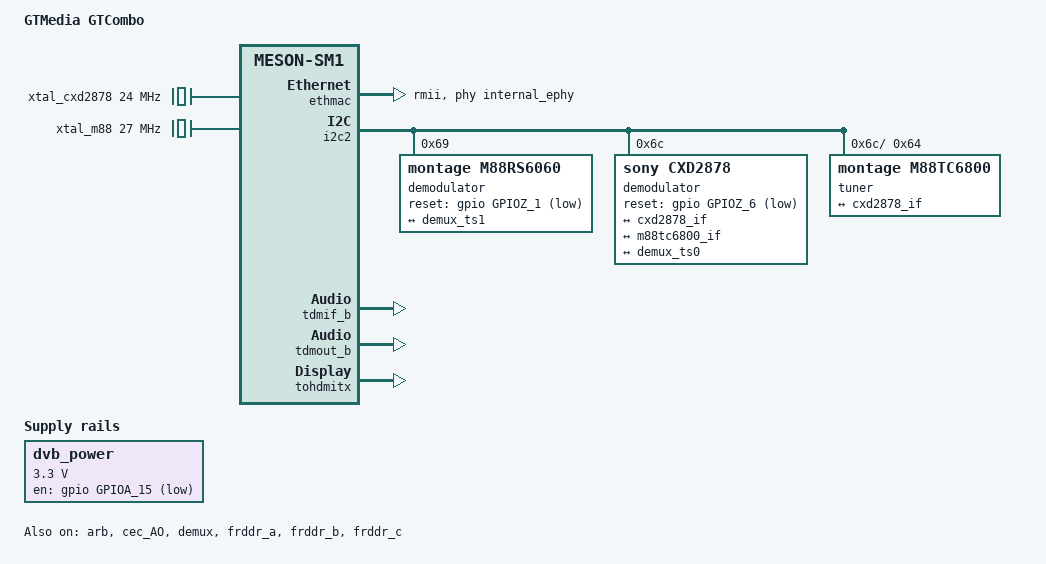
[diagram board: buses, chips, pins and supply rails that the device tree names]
// SPDX-License-Identifier: (GPL-2.0+ OR MIT)
/*
 * Copyright (c) 2026 Marek Czerski <m.czerski@ap-tech.pl>
 */

/dts-v1/;

#include "meson-sm1-ac2xx.dtsi"
#include <dt-bindings/sound/meson-g12a-tohdmitx.h>

/ {
	compatible = "gtmedia,gtcombo", "amlogic,sm1";
	model = "GTMedia GTCombo";

	/* CXD2878 crystal (vendor fe0_demod_xtal = <1>: 24 MHz) */
	xtal_cxd2878: clock-24000000 {
		compatible = "fixed-clock";
		#clock-cells = <0>;
		clock-frequency = <24000000>;
	};

	/* M88TC6800 and M88RS6060 crystals, one node for both */
	xtal_m88: clock-27000000 {
		compatible = "fixed-clock";
		#clock-cells = <0>;
		clock-frequency = <27000000>;
	};

	/* GPIOA_15 low powers the DVB frontends (vendor dvb_power_value = 0) */
	dvb_power: regulator-dvb-power {
		compatible = "regulator-fixed";
		regulator-name = "DVB_POWER";
		regulator-min-microvolt = <3300000>;
		regulator-max-microvolt = <3300000>;
		gpio = <&gpio GPIOA_15 GPIO_ACTIVE_LOW>;
		regulator-always-on;
	};

	sound {
		compatible = "amlogic,axg-sound-card";
		model = "GTCOMBO";
		audio-aux-devs = <&tdmout_b>;
		audio-routing = "TDMOUT_B IN 0", "FRDDR_A OUT 1",
				"TDMOUT_B IN 1", "FRDDR_B OUT 1",
				"TDMOUT_B IN 2", "FRDDR_C OUT 1",
				"TDM_B Playback", "TDMOUT_B OUT";

		clocks = <&clkc CLKID_MPLL2>,
			 <&clkc CLKID_MPLL0>,
			 <&clkc CLKID_MPLL1>;

		assigned-clocks = <&clkc CLKID_MPLL2>,
				  <&clkc CLKID_MPLL0>,
				  <&clkc CLKID_MPLL1>;
		assigned-clock-rates = <294912000>,
				       <270950400>,
				       <393216000>;

		dai-link-0 {
			sound-dai = <&frddr_a>;
		};

		dai-link-1 {
			sound-dai = <&frddr_b>;
		};

		dai-link-2 {
			sound-dai = <&frddr_c>;
		};

		/* 8ch hdmi interface */
		dai-link-3 {
			sound-dai = <&tdmif_b>;
			dai-format = "i2s";
			dai-tdm-slot-tx-mask-0 = <1 1>;
			dai-tdm-slot-tx-mask-1 = <1 1>;
			dai-tdm-slot-tx-mask-2 = <1 1>;
			dai-tdm-slot-tx-mask-3 = <1 1>;
			mclk-fs = <256>;

			codec {
				sound-dai = <&tohdmitx TOHDMITX_I2S_IN_B>;
			};
		};

		/* hdmi glue */
		dai-link-4 {
			sound-dai = <&tohdmitx TOHDMITX_I2S_OUT>;

			codec {
				sound-dai = <&hdmi_tx>;
			};
		};
	};
};

&arb {
	status = "okay";
};

/* CEC works on this board through AO-CEC-A, not AO-CEC-B (same pin, GPIOH_3) */
&cec_AO {
	status = "okay";
};

&cecb_AO {
	status = "disabled";
};

&clkc_audio {
	status = "okay";
};

&demux {
	pinctrl-0 = <&tsin_ao_a_pins>, <&tsin_b_z_parallel_pins>;
	pinctrl-names = "default";
	status = "okay";

	ports {
		#address-cells = <1>;
		#size-cells = <0>;

		/* TS0: tsin_ao_a, serial */
		port@0 {
			reg = <0>;

			demux_ts0: endpoint {
				remote-endpoint = <&cxd2878_ts>;
				bus-width = <1>;
				/* the vendor's ts0_control = 0x800, FEC_CLK */
				pclk-sample = <0>;
			};
		};

		/* TS1: tsin_b on GPIOZ, parallel */
		port@1 {
			reg = <1>;

			demux_ts1: endpoint {
				remote-endpoint = <&m88rs6060_ts>;
				bus-width = <8>;
			};
		};
	};
};

&ethmac {
	status = "okay";
	phy-handle = <&internal_ephy>;
	phy-mode = "rmii";
};

&frddr_a {
	status = "okay";
};

&frddr_b {
	status = "okay";
};

&frddr_c {
	status = "okay";
};

/*
 * DVB frontends: fe0 is the CXD2878 with the M88TC6800 (M88TC6K) tuner
 * behind its I2C gate, fe1 the M88DM6K, driven by the m88rs6060 driver.
 */
&i2c2 {
	status = "okay";
	pinctrl-0 = <&i2c2_sda_z_pins>, <&i2c2_sck_z_pins>;
	pinctrl-names = "default";

	demodulator@69 {
		compatible = "montage,m88rs6060";
		reg = <0x69>;
		clocks = <&xtal_m88>;
		reset-gpios = <&gpio GPIOZ_1 GPIO_ACTIVE_LOW>;

		ports {
			#address-cells = <1>;
			#size-cells = <0>;

			port@1 {
				reg = <1>;

				m88rs6060_ts: endpoint {
					remote-endpoint = <&demux_ts1>;
					bus-width = <8>;
				};
			};
		};
	};

	demodulator@6c {
		compatible = "sony,cxd2878";
		reg = <0x6c>;
		clocks = <&xtal_cxd2878>;
		reset-gpios = <&gpio GPIOZ_6 GPIO_ACTIVE_LOW>;

		i2c-gate {
			#address-cells = <1>;
			#size-cells = <0>;

			tuner@64 {
				compatible = "montage,m88tc6800";
				reg = <0x64>;
				clocks = <&xtal_m88>;
				montage,xtal-cap = <24>;

				ports {
					#address-cells = <1>;
					#size-cells = <0>;

					port@1 {
						reg = <1>;

						m88tc6800_if: endpoint {
							remote-endpoint = <&cxd2878_if>;
						};
					};
				};
			};
		};

		ports {
			#address-cells = <1>;
			#size-cells = <0>;

			port@0 {
				reg = <0>;

				cxd2878_if: endpoint {
					remote-endpoint = <&m88tc6800_if>;
				};
			};

			/* serial on TSDATA0, as configured on le-13-amlogic-dvb */
			port@1 {
				reg = <1>;

				cxd2878_ts: endpoint {
					remote-endpoint = <&demux_ts0>;
					bus-width = <1>;
				};
			};
		};
	};
};

&tdmif_b {
	status = "okay";
};

&tdmout_b {
	status = "okay";
};

&tohdmitx {
	status = "okay";
};
